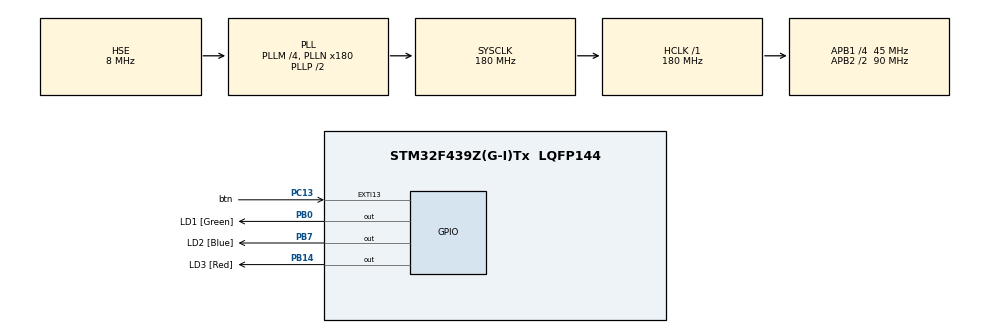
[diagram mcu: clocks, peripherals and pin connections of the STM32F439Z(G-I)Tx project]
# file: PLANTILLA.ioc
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Mcu.Family=STM32F4
Mcu.Name=STM32F439Z(G-I)Tx
Mcu.Package=LQFP144
NVIC.EXTI15_10_IRQn=true\:0\:0\:false\:false\:true\:true\:true\:true
NVIC.PriorityGroup=NVIC_PRIORITYGROUP_4
PB0.GPIO_Label=LD1 [Green]
PB0.Signal=GPIO_Output
PB14.GPIO_Label=LD3 [Red]
PB14.Signal=GPIO_Output
PB7.GPIO_Label=LD2 [Blue]
PB7.Signal=GPIO_Output
PC13.GPIO_Label=btn
PC13.GPIO_ModeDefaultEXTI=GPIO_MODE_IT_RISING
PC13.Signal=GPXTI13
PH0/OSC_IN.Mode=HSE-External-Oscillator
PH0/OSC_IN.Signal=RCC_OSC_IN
PH1/OSC_OUT.Mode=HSE-External-Oscillator
PH1/OSC_OUT.Signal=RCC_OSC_OUT
ProjectManager.HeapSize=0x200
ProjectManager.StackSize=0x400
ProjectManager.TargetToolchain=STM32CubeIDE
RCC.48MHZClocksFreq_Value=51428571.428571425
RCC.AHBFreq_Value=180000000
RCC.APB1CLKDivider=RCC_HCLK_DIV4
RCC.APB1Freq_Value=45000000
RCC.APB1TimFreq_Value=90000000
RCC.APB2CLKDivider=RCC_HCLK_DIV2
RCC.APB2Freq_Value=90000000
RCC.APB2TimFreq_Value=180000000
RCC.CortexFreq_Value=180000000
RCC.HCLKFreq_Value=180000000
RCC.HSE_VALUE=8000000
RCC.HSI_VALUE=16000000
RCC.LSE_VALUE=32768
RCC.PLLM=4
RCC.PLLMUL=RCC_PLL_MUL9
RCC.PLLN=180
RCC.PLLQ=7
RCC.PLLSourceVirtual=RCC_PLLSOURCE_HSE
RCC.PRESCALERUSB=RCC_USBCLKSOURCE_PLL_DIV1_5
RCC.SYSCLKFreq_VALUE=180000000
RCC.SYSCLKSource=RCC_SYSCLKSOURCE_PLLCLK
RCC.SYSCLKSourceVirtual=RCC_SYSCLKSOURCE_PLLCLK
RCC.USBFreq_Value=48000000
RCC.VCOOutputFreq_Value=360000000
board=NUCLEO-F439ZI

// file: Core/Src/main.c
/* USER CODE BEGIN Header */
/**
  ******************************************************************************
  * @file           : main.c
  * @brief          : Main program body
  ******************************************************************************
  * @attention
  *
  * Copyright (c) 2025 STMicroelectronics.
  * All rights reserved.
  *
  * This software is licensed under terms that can be found in the LICENSE file
  * in the root directory of this software component.
  * If no LICENSE file comes with this software, it is provided AS-IS.
  *
  ******************************************************************************
  */
/* USER CODE END Header */
#include "main.h"
#include "gpio.h"

/* USER CODE BEGIN Includes */
#include <stdbool.h>
/* USER CODE END Includes */

/* USER CODE BEGIN PV */
#define n_leds 2 //cantidad de leds - 1
#define demora 200

uint16_t Leds [10] = {LD1_Pin, LD2_Pin, LD3_Pin}; //Array de leds
uint8_t contador;
bool estado  = 0;
/* USER CODE END PV */

void SystemClock_Config(void);

int main(void)
{

  /* MCU Configuration--------------------------------------------------------*/

  /* Reset of all peripherals, Initializes the Flash interface and the Systick. */
  HAL_Init();

  /* Configure the system clock */
  SystemClock_Config();

  /* Initialize all configured peripherals */
  MX_GPIO_Init();

  /* Infinite loop */
  while (1)
  {

    /* USER CODE BEGIN 3 */

	  if(estado){
		  for (contador = 0; contador <= n_leds ; contador++) {
			  HAL_GPIO_WritePin(GPIOB, Leds[n_leds - contador], GPIO_PIN_SET);
			  HAL_Delay(demora);
			  HAL_GPIO_WritePin(GPIOB, Leds[n_leds - contador], GPIO_PIN_RESET);
			  HAL_Delay(demora);
		}
	  }else{
		  for (contador = 0; contador <= n_leds ; contador++) {
			  HAL_GPIO_WritePin(GPIOB, Leds[contador], GPIO_PIN_SET);
			  HAL_Delay(demora);
			  HAL_GPIO_WritePin(GPIOB, Leds[contador], GPIO_PIN_RESET);
			  HAL_Delay(demora);
		}
	  }

  }
  /* USER CODE END 3 */
}

void SystemClock_Config(void)
{
  RCC_OscInitTypeDef RCC_OscInitStruct = {0};
  RCC_ClkInitTypeDef RCC_ClkInitStruct = {0};

  /** Configure the main internal regulator output voltage
  */
  __HAL_RCC_PWR_CLK_ENABLE();
  __HAL_PWR_VOLTAGESCALING_CONFIG(PWR_REGULATOR_VOLTAGE_SCALE1);

  /** Initializes the RCC Oscillators according to the specified parameters
  * in the RCC_OscInitTypeDef structure.
  */
  RCC_OscInitStruct.OscillatorType = RCC_OSCILLATORTYPE_HSE;
  RCC_OscInitStruct.HSEState = RCC_HSE_ON;
  RCC_OscInitStruct.PLL.PLLState = RCC_PLL_ON;
  RCC_OscInitStruct.PLL.PLLSource = RCC_PLLSOURCE_HSE;
  RCC_OscInitStruct.PLL.PLLM = 4;
  RCC_OscInitStruct.PLL.PLLN = 180;
  RCC_OscInitStruct.PLL.PLLP = RCC_PLLP_DIV2;
  RCC_OscInitStruct.PLL.PLLQ = 7;
  if (HAL_RCC_OscConfig(&RCC_OscInitStruct) != HAL_OK)
  {
    Error_Handler();
  }

  /** Activate the Over-Drive mode
  */
  if (HAL_PWREx_EnableOverDrive() != HAL_OK)
  {
    Error_Handler();
  }

  /** Initializes the CPU, AHB and APB buses clocks
  */
  RCC_ClkInitStruct.ClockType = RCC_CLOCKTYPE_HCLK|RCC_CLOCKTYPE_SYSCLK
                              |RCC_CLOCKTYPE_PCLK1|RCC_CLOCKTYPE_PCLK2;
  RCC_ClkInitStruct.SYSCLKSource = RCC_SYSCLKSOURCE_PLLCLK;
  RCC_ClkInitStruct.AHBCLKDivider = RCC_SYSCLK_DIV1;
  RCC_ClkInitStruct.APB1CLKDivider = RCC_HCLK_DIV4;
  RCC_ClkInitStruct.APB2CLKDivider = RCC_HCLK_DIV2;

  if (HAL_RCC_ClockConfig(&RCC_ClkInitStruct, FLASH_LATENCY_5) != HAL_OK)
  {
    Error_Handler();
  }
}

/* USER CODE BEGIN 4 */
void HAL_GPIO_EXTI_Callback(uint16_t GPIO_Pin)
{
	if(GPIO_Pin == btn_Pin){
		HAL_GPIO_WritePin(GPIOB, LD1_Pin|LD2_Pin|LD3_Pin, GPIO_PIN_RESET);
		estado = !estado;
	}
}
/* USER CODE END 4 */

void Error_Handler(void)
{
  __disable_irq();
  while (1)
  {
  }
}
